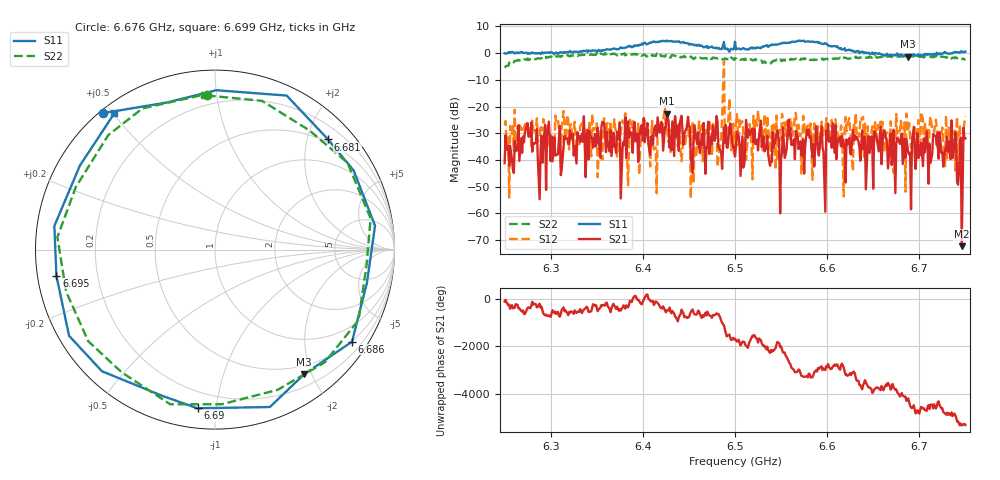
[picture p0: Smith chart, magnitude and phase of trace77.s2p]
# Hz S RI R 50
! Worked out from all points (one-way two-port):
!   401 points, 6.25 GHz to 6.75 GHz, reference 50 ohm
!   highest |S21| = -22.67 dB at 6.426 GHz (marker M1); lowest = -72.2 dB at 6.746 GHz (marker M2)
!   lowest |S11| = -1.4 dB at 6.688 GHz (marker M3), VSWR 12.69, Z = 18.4 - j94.3 ohm
!   |S11| at or under -10 dB: nowhere
!   |S22| runs from -5.5 to -0.1 dB; largest |S21 - S12| = 0.69
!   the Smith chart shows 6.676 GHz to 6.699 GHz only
!   S11 on the Smith chart (normalised r, x): 6.676 GHz: 0.01, +0.47; 6.681 GHz: 0.44, +2.39; 6.686 GHz: 0.48, -3.22; 6.69 GHz: 0.11, -0.89; 6.695 GHz: 0.06, -0.08; 6.699 GHz: 0.04, +0.50
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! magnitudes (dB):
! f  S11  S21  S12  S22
! 6.25 GHz  -0.1  -41.2  -26.8  -5.5
! 6.334 GHz  0.5  -30.2  -26.2  -0.6
! 6.378 GHz  1.8  -35.5  -25.2  -0.4
! 6.418 GHz  4.1  -29.7  -26.5  -0.9
! 6.426 GHz  4.6  -22.7  -28.4  -1.1
! 6.449 GHz  3.6  -23.9  -27.4  -1.6
! 6.455 GHz  3.1  -33.9  -48.8  -2.3
! 6.461 GHz  3.1  -34.8  -25.6  -1.7
! 6.5 GHz  4.2  -38.7  -31.9  -1.9
! 6.584 GHz  4.3  -38.9  -47.4  -2.6
! 6.668 GHz  -1.0  -34.9  -30.6  -1.3
! 6.676 GHz  -0.2  -31.8  -33.2  -1.3
! 6.681 GHz  -1.1  -30.1  -29.2  -1.1
! 6.686 GHz  -0.7  -32.1  -22.6  -1.4
! 6.688 GHz  -1.4  -37.2  -29.2  -1.3
! 6.69 GHz  -1.0  -37.3  -31.2  -1.3
! 6.695 GHz  -1.0  -37.8  -27.9  -1.4
! 6.699 GHz  -0.5  -39.2  -25.1  -1.3
! 6.738 GHz  0.4  -35.4  -29.1  -1.9
! 6.744 GHz  0.1  -39.6  -26.9  -1.7
! 6.746 GHz  0.6  -72.2  -39.5  -2.2
! 6.75 GHz  0.5  -31.9  -23.7  -2.2
